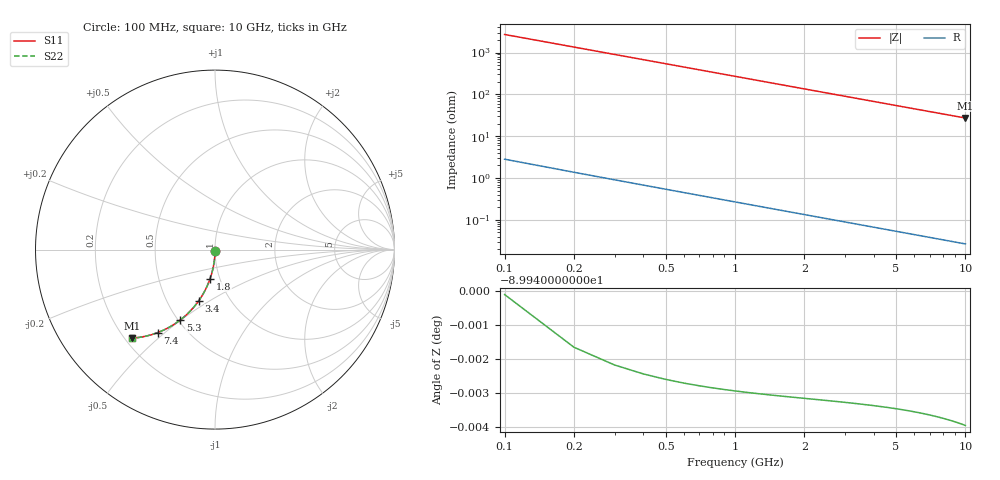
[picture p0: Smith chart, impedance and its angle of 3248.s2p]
# Hz S RI R 50.00
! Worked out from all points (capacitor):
!   100 points, 100 MHz to 10 GHz, reference 50 ohm
!   read as one part in shunt: C = 590 fF near 100 MHz
!   lowest |Z| = 27.2 ohm at 10 GHz (marker M1)
!   S11 on the Smith chart (normalised r, x): 100 MHz: 1.00, -0.02; 1.8 GHz: 0.90, -0.30; 3.4 GHz: 0.72, -0.45; 5.3 GHz: 0.51, -0.50; 7.4 GHz: 0.35, -0.47; 10 GHz: 0.23, -0.42
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1e8  -7.78e-05 -0.00922  0.9999 -0.00931  0.9999 -0.00931  -7.78e-05 -0.00922
2e8  -0.000344 -0.0184  0.9996 -0.0186  0.9996 -0.0186  -0.000344 -0.0184
3e8  -0.000782 -0.0276  0.9992 -0.0279  0.9992 -0.0279  -0.000782 -0.0276
4e8  -0.00139 -0.0368  0.9986 -0.0372  0.9986 -0.0372  -0.00139 -0.0368
5e8  -0.00217 -0.046  0.9978 -0.0464  0.9978 -0.0464  -0.00217 -0.046
6e8  -0.00312 -0.0551  0.9968 -0.0557  0.9968 -0.0557  -0.00312 -0.0551
8e8  -0.00552 -0.0733  0.9944 -0.0741  0.9944 -0.0741  -0.00552 -0.0733
9e8  -0.00697 -0.0824  0.993 -0.0832  0.993 -0.0832  -0.00697 -0.0824
1.1e9  -0.0104 -0.1003  0.9896 -0.1013  0.9896 -0.1013  -0.0104 -0.1003
1.4e9  -0.0166 -0.1269  0.9833 -0.1281  0.9833 -0.1281  -0.0166 -0.1269
1.8e9  -0.0272 -0.1613  0.9728 -0.163  0.9728 -0.163  -0.0272 -0.1613
2.1e9  -0.0366 -0.1863  0.9634 -0.1883  0.9634 -0.1883  -0.0366 -0.1863
2.5e9  -0.051 -0.2184  0.9489 -0.2207  0.9489 -0.2207  -0.051 -0.2184
2.9e9  -0.0674 -0.2489  0.9326 -0.2516  0.9326 -0.2516  -0.0674 -0.2489
3.4e9  -0.0903 -0.2846  0.9097 -0.2877  0.9097 -0.2877  -0.0903 -0.2846
4.2e9  -0.1314 -0.3354  0.8686 -0.3393  0.8686 -0.3393  -0.1314 -0.3354
5.1e9  -0.1821 -0.3831  0.8178 -0.3878  0.8178 -0.3878  -0.1821 -0.3831
5.3e9  -0.1938 -0.3924  0.8061 -0.3972  0.8061 -0.3972  -0.1938 -0.3924
6.7e9  -0.2772 -0.444  0.7228 -0.4502  0.7228 -0.4502  -0.2772 -0.444
7.4e9  -0.3185 -0.462  0.6814 -0.4688  0.6814 -0.4688  -0.3185 -0.462
8.4e9  -0.3756 -0.4799  0.6243 -0.4877  0.6243 -0.4877  -0.3756 -0.4799
1e10  -0.4598 -0.4932  0.5401 -0.5025  0.5401 -0.5025  -0.4598 -0.4932
